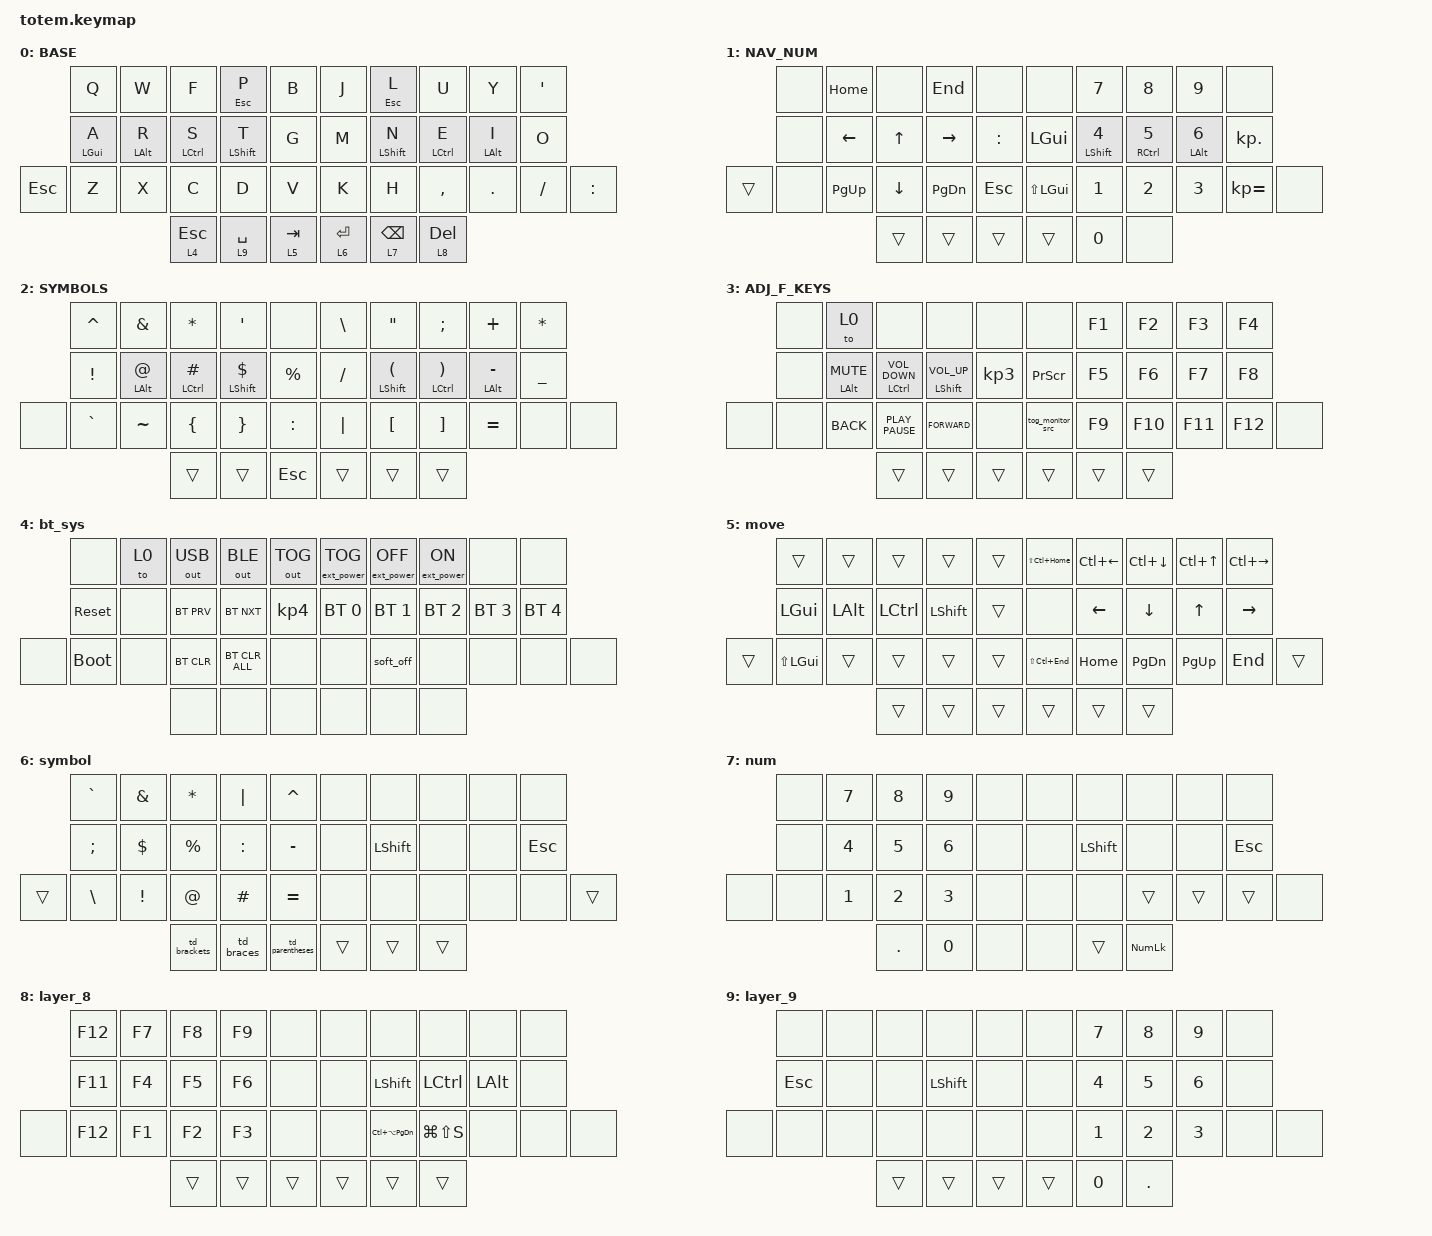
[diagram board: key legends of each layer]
//
//                                                        ▀▀▀▀▀     ▀▀▀▀▀          ▀▀█▀▀
//                                                        ▄▀▀▀▄  ▄  ▄▀▀▀▄  ▄  ▄▀▀▀▄  █  ▄▀▀▀▄
//                                                        █   █  █  █   █  █  █   █  █  █   █
//                                                         ▀▀▀   █   ▀▀▀   █   ▀▀▀   ▀   ▀▀▀
//                                                               █      ▄▄▄█▄▄▄    █   █  
//                                                               ▀      █  █  █     █▄█
//                                                             ▀▀▀▀▀    █  █  █      ▀
//                                                                      ▀  ▀  ▀
//
// ▄▄▄▄▄▄▄▄▄▄▄▄▄▄▄▄▄▄▄▄▄▄▄▄▄▄▄▄▄▄▄▄▄▄▄▄▄▄▄▄▄▄▄▄▄▄▄▄▄▄▄▄▄▄▄▄▄▄▄▄▄▄▄▄▄▄▄▄▄▄▄▄▄▄▄▄▄▄▄▄▄▄▄▄▄▄▄▄▄▄▄▄▄▄▄▄▄▄▄▄▄▄▄▄▄▄▄▄▄▄▄▄▄▄▄▄▄▄▄▄▄▄▄▄▄▄▄▄▄▄▄▄▄▄▄▄▄▄▄▄▄▄▄▄▄▄▄▄▄

#include <behaviors.dtsi>
#include <dt-bindings/zmk/bt.h>
#include <dt-bindings/zmk/ext_power.h>
#include <dt-bindings/zmk/keys.h>
#include <dt-bindings/zmk/outputs.h>

#define BASE 0
#define NAV  1
#define SYM  2
#define ADJ  3
#define TVP1 4
#define TVP2 5

&mt {
    quick-tap-ms = <150>;
    global-quick-tap;
    flavor = "tap-preferred";
    tapping-term-ms = <300>;
};

&lt { tapping-term-ms = <250>; };

/ {
    combos {
        compatible = "zmk,combos";

        tmux_split_v {
            bindings = <&tmux_split_v>;
            key-positions = <>;
            layers = <0>;
        };

        tmux_split_h {
            bindings = <&tmux_split_h>;
            key-positions = <>;
            layers = <0>;
        };

        tmux_pane_left {
            bindings = <&tmux_pane_left>;
            key-positions = <>;
        };

        tmux_pane_right {
            bindings = <&tmux_pane_right>;
            key-positions = <>;
        };

        tmux_pane_up {
            bindings = <&tmux_pane_up>;
            key-positions = <>;
        };

        tmux_pane_down {
            bindings = <&tmux_pane_down>;
            key-positions = <>;
        };

        tmux_win_left {
            bindings = <&tmux_win_prev>;
            key-positions = <>;
        };

        tmux_win_right {
            bindings = <&tmux_win_next>;
            key-positions = <>;
        };

        vi_ins_mv_eol {
            bindings = <&vi_ins_mv_eol>;
            key-positions = <35 16>;
        };

        cmb_esc {
            bindings = <&kp ESCAPE>;
            key-positions = <35 34>;
        };

        vi_esc_colon {
            bindings = <&m_esc_colon>;
            key-positions = <35 27>;
        };
    };

    macros {
        PrScr: PrScr {
            compatible = "zmk,behavior-macro";
            #binding-cells = <0>;
            bindings = <&kp LS(LG(S))>;
            label = "PRSCR";
        };

        tmux_split_v: tmux_split_v {
            compatible = "zmk,behavior-macro";
            #binding-cells = <0>;
            bindings = <&kp LC(B) &kp PERCENT>;
            label = "TMUX_SPLIT_V";
        };

        tmux_split_h: tmux_split_h {
            compatible = "zmk,behavior-macro";
            #binding-cells = <0>;
            bindings = <&kp LC(B) &kp DOUBLE_QUOTES>;
            label = "TMUX_SPLIT_H";
            wait-ms = <0>;
        };

        tmux_pane_left: tmux_pane_left {
            compatible = "zmk,behavior-macro";
            #binding-cells = <0>;
            bindings = <&kp LC(B) &kp LEFT_ARROW>;
            label = "TMUX_PANE_LEFT";
        };

        tmux_pane_right: tmux_pane_right {
            compatible = "zmk,behavior-macro";
            #binding-cells = <0>;
            bindings = <&kp LC(B) &kp RIGHT_ARROW>;
            label = "TMUX_PANE_RIGHT";
        };

        tmux_pane_up: tmux_pane_up {
            compatible = "zmk,behavior-macro";
            #binding-cells = <0>;
            bindings = <&kp LC(B) &kp UP_ARROW>;
            label = "TMUX_PANE_UP";
        };

        tmux_win_prev: tmux_win_prev {
            compatible = "zmk,behavior-macro";
            #binding-cells = <0>;
            bindings = <&kp LC(B) &kp P>;
            label = "TMUX_WIN_PREV";
        };

        tmux_win_next: tmux_win_next {
            compatible = "zmk,behavior-macro";
            #binding-cells = <0>;
            bindings = <&kp LC(B) &kp N>;
            label = "TMUX_WIN_NEXT";
        };

        tog_monitor_src: tog_monitor_src {
            compatible = "zmk,behavior-macro";
            #binding-cells = <0>;
            bindings = <&kp LC(LA(PAGE_DOWN))>;
            label = "TOG_MONITOR_SRC";
        };

        tmux_pane_down: tmux_pane_down {
            compatible = "zmk,behavior-macro";
            #binding-cells = <0>;
            bindings = <&kp LC(B) &kp DOWN_ARROW>;
            label = "TMUX_PANE_DOWN";
        };

        vi_ins_mv_eol: vi_ins_mv_eol {
            compatible = "zmk,behavior-macro";
            #binding-cells = <0>;
            bindings = <&kp LC(O) &kp LS(A)>;
            label = "VI_INS_MV_EOL";
        };

        m_esc_colon: m_esc_colon {
            compatible = "zmk,behavior-macro";
            #binding-cells = <0>;
            bindings = <&kp ESCAPE &kp COLON>;
            label = "M_ESC_COLON";
        };
    };

    behaviors {
        bkspc_del: bkspc_del {
            compatible = "zmk,behavior-mod-morph";
            label = "BKSPC_DEL";
            bindings = <&kp BACKSPACE>, <&kp DELETE>;

            #binding-cells = <0>;
            mods = <(MOD_LSFT)>;
        };

        mo_bkspc_del_2: mo_bkspc_del_2 {
            compatible = "zmk,behavior-hold-tap";
            label = "MO_BKSPC_DEL_2";
            bindings = <&mo>, <&bkspc_del>;

            #binding-cells = <2>;
            tapping-term-ms = <200>;
            flavor = "tap-preferred";
            quick-tap-ms = <100>;
        };

        mo_long_hold: mo_long_hold {
            compatible = "zmk,behavior-hold-tap";
            label = "MO_LONG_HOLD";
            bindings = <&mo>, <&kp>;

            #binding-cells = <2>;
            tapping-term-ms = <1000>;
            flavor = "tap-preferred";
        };

        td_brackets: td_brackets {
            compatible = "zmk,behavior-tap-dance";
            label = "TD_BRACKETS";
            #binding-cells = <0>;
            bindings = <&kp LEFT_BRACKET>, <&kp RIGHT_BRACKET>;

            tapping-term-ms = <180>;
        };

        td_braces: td_braces {
            compatible = "zmk,behavior-tap-dance";
            label = "TD_BRACES";
            #binding-cells = <0>;
            bindings = <&kp LEFT_BRACE>, <&kp RIGHT_BRACE>;

            tapping-term-ms = <180>;
        };

        td_parentheses: td_parentheses {
            compatible = "zmk,behavior-tap-dance";
            label = "TD_PARENTHESES";
            #binding-cells = <0>;
            bindings = <&kp LEFT_PARENTHESIS>, <&kp RIGHT_PARENTHESIS>;

            tapping-term-ms = <180>;
        };
    };

    keymap {
        compatible = "zmk,keymap";

        // ▄▄▄▄▄▄▄▄▄▄▄▄▄▄▄▄▄▄▄▄▄▄▄▄▄▄▄▄▄▄▄▄▄▄▄▄▄▄▄▄▄▄▄▄▄▄▄▄▄▄▄▄▄▄▄▄▄▄▄▄▄▄▄▄▄▄▄▄▄▄▄▄▄▄▄▄▄▄▄▄▄▄▄▄▄▄▄▄▄▄▄▄▄▄▄▄▄▄▄▄▄▄▄▄▄▄▄▄▄▄▄▄▄▄▄▄▄▄▄▄▄▄▄▄▄▄▄▄▄▄▄▄▄▄▄▄▄▄▄▄▄▄▄▄▄▄▄▄▄

        base {
            // ┏━━━━━━━━━━━━━━━━━━━━━━━━━━━━━━━━━━━━━━━┓

            label = "BASE";

            // ┗━━━━━━━━━━━━━━━━━━━━━━━━━━━━━━━━━━━━━━━┛
            //             ┏━━━━━━━━━━━┳━━━━━━━━━━━┳━━━━━━━━━━━┳━━━━━━━━━━━┳━━━━━━━━━━━┓   ┏━━━━━━━━━━━┳━━━━━━━━━━━┳━━━━━━━━━━━┳━━━━━━━━━━━┳━━━━━━━━━━━┓
            //             ┃     Q     ┃     W     ┃     E     ┃     R     ┃     T     ┃   ┃     Y     ┃     U     ┃     I     ┃     O     ┃     P     ┃
            //             ┣━━━━━━━━━━━╋━━━━━━━━━━━╋━━━━━━━━━━━╋━━━━━━━━━━━╋━━━━━━━━━━━┫   ┣━━━━━━━━━━━╋━━━━━━━━━━━╋━━━━━━━━━━━╋━━━━━━━━━━━╋━━━━━━━━━━━┫
            //             ┃     A     ┃     S     ┃     D     ┃     F     ┃     G     ┃   ┃     H     ┃     J     ┃     K     ┃     L     ┃     ;     ┃
            // ┏━━━━━━━━━━━╋━━━━━━━━━━━╋━━━━━━━━━━━╋━━━━━━━━━━━╋━━━━━━━━━━━╋━━━━━━━━━━━┫   ┣━━━━━━━━━━━╋━━━━━━━━━━━╋━━━━━━━━━━━╋━━━━━━━━━━━╋━━━━━━━━━━━╋━━━━━━━━━━━┓
            // ┃     Q     ┃     Z     ┃     X     ┃     C     ┃     V     ┃     B     ┃   ┃     N     ┃     M     ┃     ,     ┃     .     ┃     /     ┃     \     ┃
            // ┗━━━━━━━━━━━┻━━━━━━━━━━━┻━━━━━━━━━━━╋━━━━━━━━━━━╋━━━━━━━━━━━╋━━━━━━━━━━━┫   ┣━━━━━━━━━━━╋━━━━━━━━━━━╋━━━━━━━━━━━╋━━━━━━━━━━━┻━━━━━━━━━━━┻━━━━━━━━━━━┛
            //                                     ┃    DEL    ┃    TAB    ┃    SPC    ┃   ┃   ENTER   ┃           ┃   BSPC    ┃
            //                                     ┗━━━━━━━━━━━┻━━━━━━━━━━━┻━━━━━━━━━━━┛   ┗━━━━━━━━━━━┻━━━━━━━━━━━┻━━━━━━━━━━━┛

            bindings = <
         &kp Q           &kp W           &kp F               &mt ESCAPE P  &kp B        &kp J         &mt ESCAPE L      &kp U               &kp Y           &kp SQT
         &mt LEFT_GUI A  &mt LEFT_ALT R  &mt LEFT_CONTROL S  &mt LSHIFT T  &kp G        &kp M         &mt LEFT_SHIFT N  &mt LEFT_CONTROL E  &mt LEFT_ALT I  &kp O
&kp ESC  &kp Z           &kp X           &kp C               &kp D         &kp V        &kp K         &kp H             &kp COMMA           &kp DOT         &kp SLASH  &kp COLON
                                         &lt 4 ESCAPE        &lt 9 SPACE   &lt 5 TAB    &lt 6 RETURN  &lt 7 BACKSPACE   &lt 8 DELETE
            >;
        };

        nav_num {
            // ┏━━━━━━━━━━━━━━━━━━━━━━━━━━━━━━━━━━━━━━━┓

            label = "NAV_NUM";

            // ┗━━━━━━━━━━━━━━━━━━━━━━━━━━━━━━━━━━━━━━━┛
            //             ┏━━━━━━━━━━━┳━━━━━━━━━━━┳━━━━━━━━━━━┳━━━━━━━━━━━┳━━━━━━━━━━━┓   ┏━━━━━━━━━━━┳━━━━━━━━━━━┳━━━━━━━━━━━┳━━━━━━━━━━━┳━━━━━━━━━━━┓
            //             ┃           ┃           ┃     UP    ┃           ┃     {     ┃   ┃     }     ┃     7     ┃     8     ┃     9     ┃     +     ┃
            //             ┣━━━━━━━━━━━╋━━━━━━━━━━━╋━━━━━━━━━━━╋━━━━━━━━━━━╋━━━━━━━━━━━┫   ┣━━━━━━━━━━━╋━━━━━━━━━━━╋━━━━━━━━━━━╋━━━━━━━━━━━╋━━━━━━━━━━━┫
            //             ┃   SHIFT   ┃   LEFT    ┃    DOWN   ┃   RIGHT   ┃     [     ┃   ┃     ]     ┃     4     ┃     5     ┃     6     ┃     -     ┃
            // ┏━━━━━━━━━━━╋━━━━━━━━━━━╋━━━━━━━━━━━╋━━━━━━━━━━━╋━━━━━━━━━━━╋━━━━━━━━━━━┫   ┣━━━━━━━━━━━╋━━━━━━━━━━━╋━━━━━━━━━━━╋━━━━━━━━━━━╋━━━━━━━━━━━╋━━━━━━━━━━━┓
            // ┃           ┃           ┃   P UP    ┃  C LOCK   ┃  P DOWN   ┃     (     ┃   ┃     )     ┃     1     ┃     2     ┃     3     ┃     *     ┃           ┃
            // ┗━━━━━━━━━━━┻━━━━━━━━━━━┻━━━━━━━━━━━╋━━━━━━━━━━━╋━━━━━━━━━━━╋━━━━━━━━━━━┫   ┣━━━━━━━━━━━╋━━━━━━━━━━━╋━━━━━━━━━━━╋━━━━━━━━━━━┻━━━━━━━━━━━┻━━━━━━━━━━━┛
            //                                     ┃           ┃    TAB    ┃    SPC    ┃   ┃    DEL    ┃     0     ┃           ┃
            //                                     ┗━━━━━━━━━━━┻━━━━━━━━━━━┻━━━━━━━━━━━┛   ┗━━━━━━━━━━━┻━━━━━━━━━━━┻━━━━━━━━━━━┛

            bindings = <
        &none  &kp HOME     &none           &kp END          &none        &none             &kp N7                   &kp N8                      &kp N9                 &none
        &none  &kp LEFT     &kp UP_ARROW    &kp RIGHT_ARROW  &kp COLON    &kp LEFT_GUI      &mt LEFT_SHIFT NUMBER_4  &mt RIGHT_CONTROL NUMBER_5  &mt LEFT_ALT NUMBER_6  &kp KP_DOT
&trans  &none  &kp PAGE_UP  &kp DOWN_ARROW  &kp PAGE_DOWN    &kp ESC      &kp LS(LEFT_GUI)  &kp NUMBER_1             &kp N2                      &kp NUMBER_3           &kp KP_EQUAL  &none
                            &trans          &trans           &trans       &trans            &kp N0                   &none
            >;
        };

        symbols {
            // ┏━━━━━━━━━━━━━━━━━━━━━━━━━━━━━━━━━━━━━━━┓

            label = "SYMBOLS";

            // ┗━━━━━━━━━━━━━━━━━━━━━━━━━━━━━━━━━━━━━━━┛
            //             ┏━━━━━━━━━━━┳━━━━━━━━━━━┳━━━━━━━━━━━┳━━━━━━━━━━━┳━━━━━━━━━━━┓   ┏━━━━━━━━━━━┳━━━━━━━━━━━┳━━━━━━━━━━━┳━━━━━━━━━━━┳━━━━━━━━━━━┓
            //             ┃     !     ┃     @     ┃     #     ┃     $     ┃     %     ┃   ┃     ˆ     ┃     &     ┃     *     ┃     '     ┃     "     ┃
            //             ┣━━━━━━━━━━━╋━━━━━━━━━━━╋━━━━━━━━━━━╋━━━━━━━━━━━╋━━━━━━━━━━━┫   ┣━━━━━━━━━━━╋━━━━━━━━━━━╋━━━━━━━━━━━╋━━━━━━━━━━━╋━━━━━━━━━━━┫
            //             ┃     Ä     ┃           ┃    SZ     ┃           ┃           ┃   ┃   MUTE    ┃   YEN     ┃   EURO    ┃  POUND    ┃     Ö     ┃
            // ┏━━━━━━━━━━━╋━━━━━━━━━━━╋━━━━━━━━━━━╋━━━━━━━━━━━╋━━━━━━━━━━━╋━━━━━━━━━━━┫   ┣━━━━━━━━━━━╋━━━━━━━━━━━╋━━━━━━━━━━━╋━━━━━━━━━━━╋━━━━━━━━━━━╋━━━━━━━━━━━┓
            // ┃           ┃  EMAIL1   ┃  EMAIL2   ┃           ┃           ┃           ┃   ┃   VOL-    ┃   VOL+    ┃   LAST    ┃   NEXT    ┃     \     ┃           ┃
            // ┗━━━━━━━━━━━┻━━━━━━━━━━━┻━━━━━━━━━━━╋━━━━━━━━━━━╋━━━━━━━━━━━╋━━━━━━━━━━━┫   ┣━━━━━━━━━━━╋━━━━━━━━━━━╋━━━━━━━━━━━╋━━━━━━━━━━━┻━━━━━━━━━━━┻━━━━━━━━━━━┛
            //                                     ┃           ┃    GIF    ┃    ADJ    ┃   ┃           ┃           ┃           ┃
            //                                     ┗━━━━━━━━━━━┻━━━━━━━━━━━┻━━━━━━━━━━━┛   ┗━━━━━━━━━━━┻━━━━━━━━━━━┻━━━━━━━━━━━┛

            bindings = <
       &kp CARET  &kp AMPS         &kp ASTRK              &kp SINGLE_QUOTE       &none          &kp BACKSLASH  &kp DOUBLE_QUOTES                &kp SEMI                            &kp PLUS            &kp ASTERISK
       &kp EXCL   &mt LEFT_ALT AT  &mt LEFT_CONTROL HASH  &mt LEFT_SHIFT DOLLAR  &kp PERCENT    &kp SLASH      &mt LEFT_SHIFT LEFT_PARENTHESIS  &mt LEFT_CONTROL RIGHT_PARENTHESIS  &mt LEFT_ALT MINUS  &kp UNDER
&none  &kp GRAVE  &kp TILDE        &kp LEFT_BRACE         &kp RIGHT_BRACE        &kp COLON      &kp PIPE       &kp LEFT_BRACKET                 &kp RIGHT_BRACKET                   &kp EQUAL           &none         &none
                                   &trans                 &trans                 &kp ESCAPE     &trans         &trans                           &trans
            >;
        };

        adj_f_keys {
            // ┏━━━━━━━━━━━━━━━━━━━━━━━━━━━━━━━━━━━━━━━┓

            label = "ADJ_F_KEYS";

            // ┗━━━━━━━━━━━━━━━━━━━━━━━━━━━━━━━━━━━━━━━┛
            //             ┏━━━━━━━━━━━┳━━━━━━━━━━━┳━━━━━━━━━━━┳━━━━━━━━━━━┳━━━━━━━━━━━┓   ┏━━━━━━━━━━━┳━━━━━━━━━━━┳━━━━━━━━━━━┳━━━━━━━━━━━┳━━━━━━━━━━━┓
            //             ┃   RESET   ┃ BT CLEAR  ┃  OUT TOG  ┃           ┃           ┃   ┃           ┃    F7     ┃    F8     ┃    F9     ┃    F12    ┃
            //             ┣━━━━━━━━━━━╋━━━━━━━━━━━╋━━━━━━━━━━━╋━━━━━━━━━━━╋━━━━━━━━━━━┫   ┣━━━━━━━━━━━╋━━━━━━━━━━━╋━━━━━━━━━━━╋━━━━━━━━━━━╋━━━━━━━━━━━┫
            //             ┃ BOOTLOAD  ┃ BT NEXT   ┃           ┃           ┃           ┃   ┃           ┃    F4     ┃    F5     ┃    F6     ┃    F11    ┃
            // ┏━━━━━━━━━━━╋━━━━━━━━━━━╋━━━━━━━━━━━╋━━━━━━━━━━━╋━━━━━━━━━━━╋━━━━━━━━━━━┫   ┣━━━━━━━━━━━╋━━━━━━━━━━━╋━━━━━━━━━━━╋━━━━━━━━━━━╋━━━━━━━━━━━╋━━━━━━━━━━━┓
            // ┃           ┃           ┃ BT PREV   ┃           ┃           ┃           ┃   ┃           ┃    F1     ┃    F2     ┃    F3     ┃    F10    ┃           ┃
            // ┗━━━━━━━━━━━┻━━━━━━━━━━━┻━━━━━━━━━━━╋━━━━━━━━━━━╋━━━━━━━━━━━╋━━━━━━━━━━━┫   ┣━━━━━━━━━━━╋━━━━━━━━━━━╋━━━━━━━━━━━╋━━━━━━━━━━━┻━━━━━━━━━━━┻━━━━━━━━━━━┛
            //                                     ┃           ┃           ┃           ┃   ┃           ┃           ┃           ┃
            //                                     ┗━━━━━━━━━━━┻━━━━━━━━━━━┻━━━━━━━━━━━┛   ┗━━━━━━━━━━━┻━━━━━━━━━━━┻━━━━━━━━━━━┛

            bindings = <
       &none  &to 0                &none                           &none                       &none              &none             &kp F1  &kp F2   &kp F3   &kp F4
       &none  &mt LEFT_ALT K_MUTE  &mt LEFT_CONTROL K_VOLUME_DOWN  &mt LEFT_SHIFT K_VOLUME_UP  &kp KP_NUMBER_3    &PrScr            &kp F5  &kp F6   &kp F7   &kp F8
&none  &none  &kp K_BACK           &kp K_PLAY_PAUSE                &kp K_FORWARD               &none              &tog_monitor_src  &kp F9  &kp F10  &kp F11  &kp F12  &none
                                   &trans                          &trans                      &trans             &trans            &trans  &trans
            >;
        };

        bt_sys {
            bindings = <
       &none        &to 0  &out OUT_USB  &out OUT_BLE    &out OUT_TOG       &ext_power EP_TOG  &ext_power EP_OFF  &ext_power EP_ON  &none         &none
       &sys_reset   &none  &bt BT_PRV    &bt BT_NXT      &kp KP_NUMBER_4    &bt BT_SEL 0       &bt BT_SEL 1       &bt BT_SEL 2      &bt BT_SEL 3  &bt BT_SEL 4
&none  &bootloader  &none  &bt BT_CLR    &bt BT_CLR_ALL  &none              &none              &soft_off          &none             &none         &none         &none
                           &none         &none           &none              &none              &none              &none
            >;
        };

        move {
            bindings = <
        &trans            &trans        &trans            &trans          &trans    &kp LS(LC(HOME))  &kp LC(LEFT_ARROW)  &kp LC(DOWN_ARROW)  &kp LC(UP_ARROW)  &kp LC(RIGHT_ARROW)
        &kp LEFT_GUI      &kp LEFT_ALT  &kp LEFT_CONTROL  &kp LEFT_SHIFT  &trans    &none             &kp LEFT            &kp DOWN_ARROW      &kp UP_ARROW      &kp RIGHT_ARROW
&trans  &kp LS(LEFT_GUI)  &trans        &trans            &trans          &trans    &kp LS(LC(END))   &kp HOME            &kp PAGE_DOWN       &kp PAGE_UP       &kp END              &trans
                                        &trans            &trans          &trans    &trans            &trans              &trans
            >;
        };

        symbol {
            bindings = <
        &kp GRAVE      &kp AMPERSAND    &kp ASTERISK  &kp PIPE    &kp CARET          &none   &none           &none   &none  &none
        &kp SEMICOLON  &kp DOLLAR       &kp PERCENT   &kp COLON   &kp MINUS          &none   &kp LEFT_SHIFT  &none   &none  &kp ESCAPE
&trans  &kp BACKSLASH  &kp EXCLAMATION  &kp AT_SIGN   &kp HASH    &kp EQUAL          &none   &none           &none   &none  &none       &trans
                                        &td_brackets  &td_braces  &td_parentheses    &trans  &trans          &trans
            >;
        };

        num {
            bindings = <
       &none  &kp N7        &kp N8        &kp N9  &none    &none  &none           &none           &none   &none
       &none  &kp N4        &kp N5        &kp N6  &none    &none  &kp LEFT_SHIFT  &none           &none   &kp ESCAPE
&none  &none  &kp NUMBER_1  &kp NUMBER_2  &kp N3  &none    &none  &none           &trans          &trans  &trans      &none
                            &kp DOT       &kp N0  &none    &none  &trans          &kp KP_NUMLOCK
            >;
        };

        layer_8 {
            bindings = <
       &kp F12  &kp F7  &kp F8  &kp F9  &none     &none   &none                  &none          &none     &none
       &kp F11  &kp F4  &kp F5  &kp F6  &none     &none   &kp LSHFT              &kp LCTRL      &kp LALT  &none
&none  &kp F12  &kp F1  &kp F2  &kp F3  &none     &none   &kp LC(LA(PAGE_DOWN))  &kp LG(LS(S))  &none     &none  &none
                        &trans  &trans  &trans    &trans  &trans                 &trans
            >;
        };

        layer_9 {
            bindings = <
       &none    &none  &none   &none      &none     &none   &kp N7  &kp N8   &kp N9  &none
       &kp ESC  &none  &none   &kp LSHFT  &none     &none   &kp N4  &kp N5   &kp N6  &none
&none  &none    &none  &none   &none      &none     &none   &kp N1  &kp N2   &kp N3  &none  &none
                       &trans  &trans     &trans    &trans  &kp N0  &kp DOT
            >;
        };
    };
};
